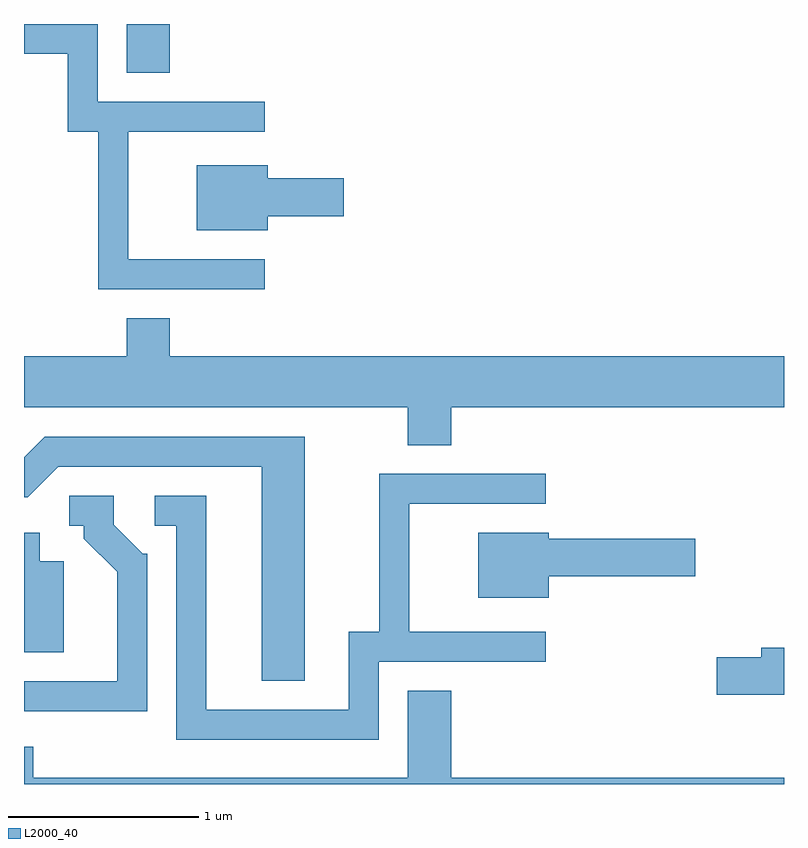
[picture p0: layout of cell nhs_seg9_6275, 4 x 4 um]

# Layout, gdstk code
import gdstk
lib = gdstk.Library(unit=1e-6, precision=1e-09)
def R(c, l, rs):  # rectangles x0, y0, x1, y1
    for r in rs: c.add(gdstk.rectangle(r[:2], r[2:], *l))
def P(c, l, *ps):  # polygons
    for p in ps: c.add(gdstk.Polygon(p, *l))
L2000_40 = (2000, 40)

nhs_seg9_6275 = lib.new_cell('nhs_seg9_6275')
R(nhs_seg9_6275, L2000_40, [(370.151,2060.176,370.379,2060.432)])
P(nhs_seg9_6275, L2000_40, [(370.878,2059.194),(370.159,2059.194),(370.159,2059.866),(370.878,2059.866),(370.878,2060.024),(369.999,2060.024),(369.999,2060.432),(369.611,2060.432),(369.611,2060.276),(369.841,2060.276),(369.841,2059.866),(370.001,2059.866),(370.001,2059.036),(370.878,2059.036)],
  [(370.894,2059.421),(371.294,2059.421),(371.294,2059.619),(370.894,2059.619),(370.894,2059.689),(370.521,2059.689),(370.521,2059.346),(370.894,2059.346)],
  [(371.859,2058.416),(373.611,2058.416),(373.611,2058.684),(370.379,2058.684),(370.379,2058.884),(370.151,2058.884),(370.151,2058.684),(369.611,2058.684),(369.611,2058.416),(371.631,2058.416),(371.631,2058.216),(371.859,2058.216)],
  [(371.089,2058.259),(369.719,2058.259),(369.611,2058.151),(369.611,2057.941),(369.632,2057.941),(369.792,2058.101),(370.861,2058.101),(370.861,2056.976),(371.089,2056.976)],
  [(371.479,2057.076),(372.358,2057.076),(372.358,2057.234),(371.639,2057.234),(371.639,2057.906),(372.358,2057.906),(372.358,2058.064),(371.481,2058.064),(371.481,2057.234),(371.321,2057.234),(371.321,2056.824),(370.569,2056.824),(370.569,2057.949),(370.298,2057.949),(370.298,2057.791),(370.411,2057.791),(370.411,2056.666),(371.479,2056.666)],
  [(370.259,2057.644),(370.237,2057.644),(370.084,2057.797),(370.084,2057.949),(369.848,2057.949),(369.848,2057.791),(369.926,2057.791),(369.926,2057.724),(370.101,2057.548),(370.101,2056.974),(369.611,2056.974),(369.611,2056.816),(370.259,2056.816)],
  [(369.819,2057.604),(369.694,2057.604),(369.694,2057.754),(369.611,2057.754),(369.611,2057.126),(369.819,2057.126)],
  [(372.374,2057.526),(373.144,2057.526),(373.144,2057.724),(372.374,2057.724),(372.374,2057.754),(372.001,2057.754),(372.001,2057.411),(372.374,2057.411)],
  [(373.611,2057.149),(373.491,2057.149),(373.491,2057.099),(373.256,2057.099),(373.256,2056.901),(373.611,2056.901)],
  [(373.611,2056.464),(371.859,2056.464),(371.859,2056.924),(371.631,2056.924),(371.631,2056.464),(369.659,2056.464),(369.659,2056.629),(369.611,2056.629),(369.611,2056.432),(373.611,2056.432)])

lib.write_gds('nhs_seg9_6275.gds')
